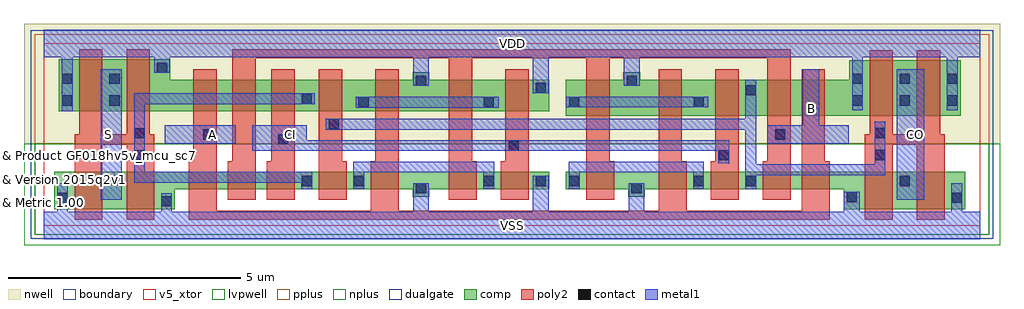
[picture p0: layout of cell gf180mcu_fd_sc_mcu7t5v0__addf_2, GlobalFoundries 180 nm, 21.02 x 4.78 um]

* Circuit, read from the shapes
.subckt gf180mcu_fd_sc_mcu7t5v0__addf_2 A B CI CO S VDD VSS
XM1 S n1 VSS VSUBS nfet_05v0 w=0.815u l=0.6u m=2
XM2 n2 A VSS VSUBS nfet_05v0 w=0.38u l=0.6u
XM3 n3 B n2 VSUBS nfet_05v0 w=0.38u l=0.6u
XM4 n1 CI n3 VSUBS nfet_05v0 w=0.38u l=0.6u
XM5 n4 n5 n1 VSUBS nfet_05v0 w=0.38u l=0.6u
XM6 VSS A n4 VSUBS nfet_05v0 w=0.38u l=0.6u
XM7 n4 B VSS VSUBS nfet_05v0 w=0.38u l=0.6u
XM8 VSS CI n4 VSUBS nfet_05v0 w=0.38u l=0.6u
XM9 VSS B n6 VSUBS nfet_05v0 w=0.38u l=0.6u
XM10 n6 A VSS VSUBS nfet_05v0 w=0.38u l=0.6u
XM11 n5 CI n6 VSUBS nfet_05v0 w=0.38u l=0.6u
XM12 n7 B n5 VSUBS nfet_05v0 w=0.38u l=0.6u
XM13 VSS A n7 VSUBS nfet_05v0 w=0.38u l=0.6u
XM14 CO n5 VSS VSUBS nfet_05v0 w=0.815u l=0.6u m=2
XM15 S n1 VDD n8 pfet_05v0 w=1.12u l=0.5u m=2
XM16 n9 A VDD n8 pfet_05v0 w=0.68u l=0.5u
XM17 n10 B n9 n8 pfet_05v0 w=0.68u l=0.5u
XM18 n1 CI n10 n8 pfet_05v0 w=0.68u l=0.5u
XM19 n11 n5 n1 n8 pfet_05v0 w=0.68u l=0.5u
XM20 VDD A n11 n8 pfet_05v0 w=0.68u l=0.5u
XM21 n11 B VDD n8 pfet_05v0 w=0.68u l=0.5u
XM22 VDD CI n11 n8 pfet_05v0 w=0.68u l=0.5u
XM23 VDD B n12 n8 pfet_05v0 w=0.78u l=0.5u
XM24 n12 A VDD n8 pfet_05v0 w=0.78u l=0.5u
XM25 n5 CI n12 n8 pfet_05v0 w=0.78u l=0.5u
XM26 n13 B n5 n8 pfet_05v0 w=0.78u l=0.5u
XM27 VDD A n13 n8 pfet_05v0 w=0.78u l=0.5u
XM28 CO n5 VDD n8 pfet_05v0 w=1.195u l=0.5u m=2
.ends

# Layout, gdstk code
import gdstk
lib = gdstk.Library(unit=1e-6, precision=1e-09)
def R(c, l, rs):  # rectangles x0, y0, x1, y1
    for r in rs: c.add(gdstk.rectangle(r[:2], r[2:], *l))
def A(c, l, x, y, w, h, nx, ny, dx, dy):  # array of equal rectangles
    R(c, l, [(x+i*dx, y+j*dy, x+i*dx+w, y+j*dy+h) for i in range(nx) for j in range(ny)])
def P(c, l, *ps):  # polygons
    for p in ps: c.add(gdstk.Polygon(p, *l))
boundary = (0, 0)
nwell = (21, 0)
comp = (22, 0)
poly2 = (30, 0)
pplus = (31, 0)
nplus = (32, 0)
contact = (33, 0)
metal1 = (34, 0)
dualgate = (55, 0)
v5_xtor = (112, 1)
lvpwell = (204, 0)

gf180mcu_fd_sc_mcu7t5v0_ = lib.new_cell('gf180mcu_fd_sc_mcu7t5v0__addf_2')
R(gf180mcu_fd_sc_mcu7t5v0_, boundary, [(0,0,20.16,3.92)])
R(gf180mcu_fd_sc_mcu7t5v0_, nwell, [(-0.43,1.76,20.59,4.35)])
P(gf180mcu_fd_sc_mcu7t5v0_, comp, [(0.22,0.345),(0.22,1.16),(10.88,1.16),(10.88,0.78),(8.3,0.78),(8.3,0.62),(7.94,0.62),(7.94,0.78),(2.82,0.78),(2.82,0.345)],
  [(0.32,2.46),(0.32,3.58),(2.72,3.58),(2.72,3.14),(7.94,3.14),(7.94,3.3),(8.3,3.3),(8.3,3.14),(10.88,3.14),(10.88,2.46)],
  [(11.24,2.36),(11.24,3.14),(12.48,3.14),(12.48,3.3),(12.84,3.3),(12.84,3.14),(17.34,3.14),(17.34,3.555),(19.74,3.555),(19.74,2.36)],
  [(17.22,0.345),(17.22,0.78),(12.94,0.78),(12.94,0.62),(12.58,0.62),(12.58,0.78),(11.24,0.78),(11.24,1.16),(19.84,1.16),(19.84,0.345)])
P(gf180mcu_fd_sc_mcu7t5v0_, poly2, [(0.66,0.12),(0.66,1.97),(0.76,1.97),(0.76,3.8),(1.26,3.8),(1.26,1.97),(1.78,1.97),(1.78,3.8),(2.28,3.8),(2.28,1.97),(2.38,1.97),(2.38,0.12),(1.78,0.12),(1.78,1.74),(1.26,1.74),(1.26,0.12)],
  [(4.8,0.56),(4.8,1.38),(4.9,1.38),(4.9,3.36),(5.4,3.36),(5.4,0.56)],
  [(5.92,0.56),(5.92,3.36),(6.42,3.36),(6.42,1.38),(6.52,1.38),(6.52,0.56)],
  [(9.84,0.56),(9.84,1.38),(9.94,1.38),(9.94,3.36),(10.44,3.36),(10.44,0.56)],
  [(14.36,0.56),(14.36,1.38),(14.46,1.38),(14.46,3.36),(14.96,3.36),(14.96,0.56)],
  [(3.96,0.56),(3.96,1.38),(4.06,1.38),(4.06,3.8),(16.08,3.8),(16.08,0.56),(15.48,0.56),(15.48,1.38),(15.58,1.38),(15.58,3.6),(12.18,3.6),(12.18,1.38),(12.28,1.38),(12.28,0.56),(11.68,0.56),(11.68,3.6),(9.22,3.6),(9.22,1.38),(9.32,1.38),(9.32,0.56),(8.72,0.56),(8.72,3.6),(4.56,3.6),(4.56,0.56)],
  [(3.12,0.12),(3.12,1.38),(3.22,1.38),(3.22,3.36),(3.72,3.36),(3.72,0.32),(7.04,0.32),(7.04,1.38),(7.14,1.38),(7.14,3.36),(7.64,3.36),(7.64,0.32),(13.24,0.32),(13.24,3.36),(13.74,3.36),(13.74,1.38),(13.84,1.38),(13.84,0.32),(16.32,0.32),(16.32,3.36),(16.82,3.36),(16.82,1.38),(16.92,1.38),(16.92,0.12)],
  [(17.68,0.12),(17.68,1.97),(17.78,1.97),(17.78,3.775),(18.28,3.775),(18.28,1.97),(18.8,1.97),(18.8,3.775),(19.3,3.775),(19.3,1.97),(19.4,1.97),(19.4,0.12),(18.8,0.12),(18.8,1.74),(18.28,1.74),(18.28,0.12)])
R(gf180mcu_fd_sc_mcu7t5v0_, pplus, [(-0.2,1.76,20.36,4.12)])
R(gf180mcu_fd_sc_mcu7t5v0_, nplus, [(-0.2,-0.2,20.36,1.76)])
A(gf180mcu_fd_sc_mcu7t5v0_, contact, 17.41, 2.58, 0.22, 0.22, 3, 2, 1.02, 0.47)
R(gf180mcu_fd_sc_mcu7t5v0_, contact, [(2.53,0.415,2.75,0.635), (0.29,0.485,0.51,0.705), (19.55,0.485,19.77,0.705), (17.29,0.505,17.51,0.725), (8.01,0.69,8.23,0.91), (12.65,0.69,12.87,0.91), (5.55,0.85,5.77,1.07), (6.67,0.85,6.89,1.07), (9.47,0.85,9.69,1.07), (10.59,0.85,10.81,1.07), (11.31,0.85,11.53,1.07), (13.99,0.85,14.21,1.07), (15.11,0.85,15.33,1.07), (18.43,0.85,18.65,1.07), (1.41,0.865,1.63,1.085), (1.945,1.405,2.165,1.625), (14.53,1.405,14.75,1.625), (17.895,1.41,18.115,1.63), (10.01,1.61,10.23,1.83), (5.045,1.75,5.265,1.97), (3.43,1.85,3.65,2.07), (15.75,1.85,15.97,2.07), (1.945,1.875,2.165,2.095), (17.895,1.88,18.115,2.1), (6.13,2.07,6.35,2.29), (9.47,2.545,9.69,2.765), (6.77,2.55,6.99,2.77), (11.31,2.55,11.53,2.77), (13.99,2.55,14.21,2.77), (0.39,2.58,0.61,2.8), (1.41,2.58,1.63,2.8), (5.55,2.615,5.77,2.835), (15.11,2.805,15.33,3.025), (10.59,2.85,10.81,3.07), (8.01,3.01,8.23,3.23), (12.55,3.01,12.77,3.23), (0.39,3.05,0.61,3.27), (1.41,3.05,1.63,3.27), (2.43,3.29,2.65,3.51)])
R(gf180mcu_fd_sc_mcu7t5v0_, metal1, [(1.22,0.55,1.68,3.37), (18.37,0.55,18.96,3.37), (2.605,1.76,4.13,2.16), (6.71,2.54,9.79,2.775), (11.24,2.545,14.31,2.775)])
P(gf180mcu_fd_sc_mcu7t5v0_, metal1, [(5.545,0.78),(5.545,0.925),(1.94,0.925),(1.94,2.845),(5.83,2.845),(5.83,2.61),(2.17,2.61),(2.17,1.155),(5.775,1.155),(5.775,0.78)],
  [(6.665,0.79),(6.665,1.375),(9.695,1.375),(9.695,0.79),(9.465,0.79),(9.465,1.145),(6.895,1.145),(6.895,0.79)],
  [(11.305,0.79),(11.305,1.375),(14.215,1.375),(14.215,0.79),(13.985,0.79),(13.985,1.145),(11.535,1.145),(11.535,0.79)],
  [(14.525,1.345),(14.525,1.605),(4.49,1.605),(4.49,2.16),(5.66,2.16),(5.66,1.835),(14.755,1.835),(14.755,1.345)],
  [(15.58,1.76),(15.58,2.16),(16.34,2.16),(16.34,3.37),(16.7,3.37),(16.7,2.16),(17.335,2.16),(17.335,1.76)],
  [(15.105,0.78),(15.105,2.065),(6.07,2.065),(6.07,2.295),(15.105,2.295),(15.105,3.14),(15.335,3.14),(15.335,1.315),(17.89,1.315),(17.89,2.23),(18.12,2.23),(18.12,1.085),(15.335,1.085),(15.335,0.78)],
  [(0,-0.3),(0,0.3),(0.285,0.3),(0.285,0.905),(0.515,0.905),(0.515,0.3),(2.525,0.3),(2.525,0.695),(2.755,0.695),(2.755,0.3),(7.95,0.3),(7.95,0.915),(8.29,0.915),(8.29,0.3),(10.53,0.3),(10.53,1.075),(10.87,1.075),(10.87,0.3),(12.59,0.3),(12.59,0.915),(12.93,0.915),(12.93,0.3),(17.23,0.3),(17.23,0.73),(17.57,0.73),(17.57,0.3),(19.545,0.3),(19.545,0.905),(19.775,0.905),(19.775,0.3),(20.16,0.3),(20.16,-0.3)],
  [(0.385,2.46),(0.385,3.62),(0,3.62),(0,4.22),(20.16,4.22),(20.16,3.62),(19.675,3.62),(19.675,2.48),(19.445,2.48),(19.445,3.62),(17.635,3.62),(17.635,2.48),(17.405,2.48),(17.405,3.62),(12.83,3.62),(12.83,3.005),(12.49,3.005),(12.49,3.62),(10.87,3.62),(10.87,2.845),(10.53,2.845),(10.53,3.62),(8.29,3.62),(8.29,3.005),(7.95,3.005),(7.95,3.62),(2.71,3.62),(2.71,3.285),(2.37,3.285),(2.37,3.62),(0.615,3.62),(0.615,2.46)])
R(gf180mcu_fd_sc_mcu7t5v0_, dualgate, [(-0.28,-0.28,20.44,4.2)])
R(gf180mcu_fd_sc_mcu7t5v0_, v5_xtor, [(0,0,20.16,3.92)])
R(gf180mcu_fd_sc_mcu7t5v0_, lvpwell, [(-0.43,-0.43,20.59,1.76)])
gf180mcu_fd_sc_mcu7t5v0_.add(gdstk.Label('VDD', (10.08,3.92), layer=34, texttype=10))
gf180mcu_fd_sc_mcu7t5v0_.add(gdstk.Label('B', (16.52,2.52), layer=34, texttype=10))
gf180mcu_fd_sc_mcu7t5v0_.add(gdstk.Label('CI', (5.32,1.96), layer=34, texttype=10))
gf180mcu_fd_sc_mcu7t5v0_.add(gdstk.Label('CO', (18.76,1.96), layer=34, texttype=10))
gf180mcu_fd_sc_mcu7t5v0_.add(gdstk.Label('S', (1.4,1.96), layer=34, texttype=10))
gf180mcu_fd_sc_mcu7t5v0_.add(gdstk.Label('VSS', (10.08,0), layer=34, texttype=10))
gf180mcu_fd_sc_mcu7t5v0_.add(gdstk.Label('A', (3.64,1.96), layer=34, texttype=10))
gf180mcu_fd_sc_mcu7t5v0_.add(gdstk.Label('& Vendor GLOBALFOUNDRIES', (0,2), layer=63, texttype=63))
gf180mcu_fd_sc_mcu7t5v0_.add(gdstk.Label('& Product GF018hv5v_mcu_sc7', (0,1.5), layer=63, texttype=63))
gf180mcu_fd_sc_mcu7t5v0_.add(gdstk.Label('& Version 2015q2v1', (0,1), layer=63, texttype=63))
gf180mcu_fd_sc_mcu7t5v0_.add(gdstk.Label('& Metric 1.00', (0,0.5), layer=63, texttype=63))

lib.write_gds('gf180mcu_fd_sc_mcu7t5v0__addf_2.gds')
